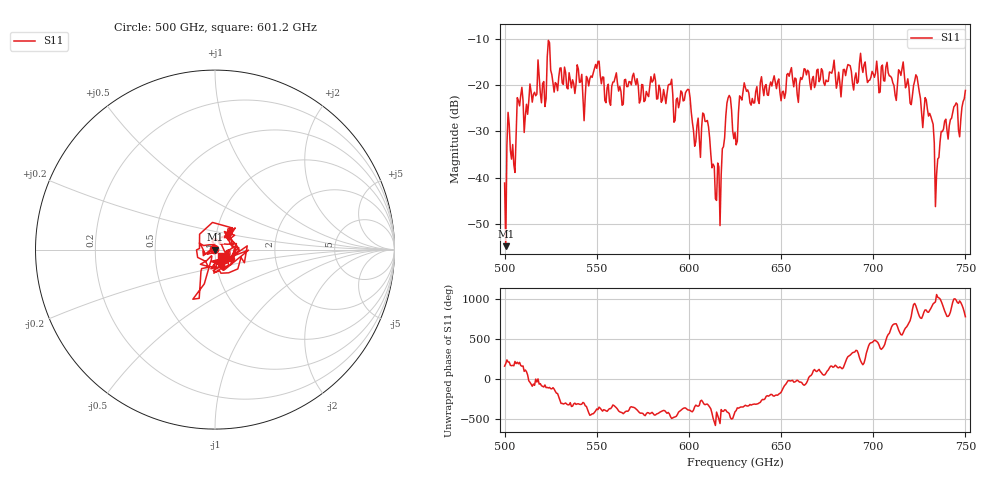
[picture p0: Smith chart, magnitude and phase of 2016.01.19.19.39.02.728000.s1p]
!Created with skrf (http://scikit-rf.org).
# GHz S RI R 50.0
!freq ReS11 ImS11
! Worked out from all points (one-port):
!   401 points, 500 GHz to 750 GHz, reference 50 ohm
!   lowest |S11| = -54.8 dB at 500.6 GHz (marker M1), VSWR 1.00, Z = 49.8 - j0.0308 ohm
!   |S11| at or under -10 dB: start of sweep to end of sweep
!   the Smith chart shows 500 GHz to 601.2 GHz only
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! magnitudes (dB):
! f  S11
! 500 GHz  -41.2
! 500.6 GHz  -54.8
! 502.5 GHz  -28.5
! 505 GHz  -37.2
! 508.1 GHz  -24.5
! 521.2 GHz  -19.3
! 524.4 GHz  -10.9
! 527.5 GHz  -19.5
! 531.2 GHz  -19.6
! 543.8 GHz  -22.5
! 550 GHz  -16.4
! 562.5 GHz  -20.3
! 580.6 GHz  -19.0
! 593.8 GHz  -22.8
! 599.4 GHz  -20.9
! 605 GHz  -27.2
! 608.8 GHz  -27.9
! 615.6 GHz  -36.9
! 621.2 GHz  -22.8
! 625 GHz  -30.3
! 630.6 GHz  -20.5
! 656.2 GHz  -18.7
! 687.5 GHz  -15.8
! 718.8 GHz  -18.7
! 729.4 GHz  -25.2
! 734.4 GHz  -39.3
! 738.1 GHz  -29.5
! 750 GHz  -21.2
